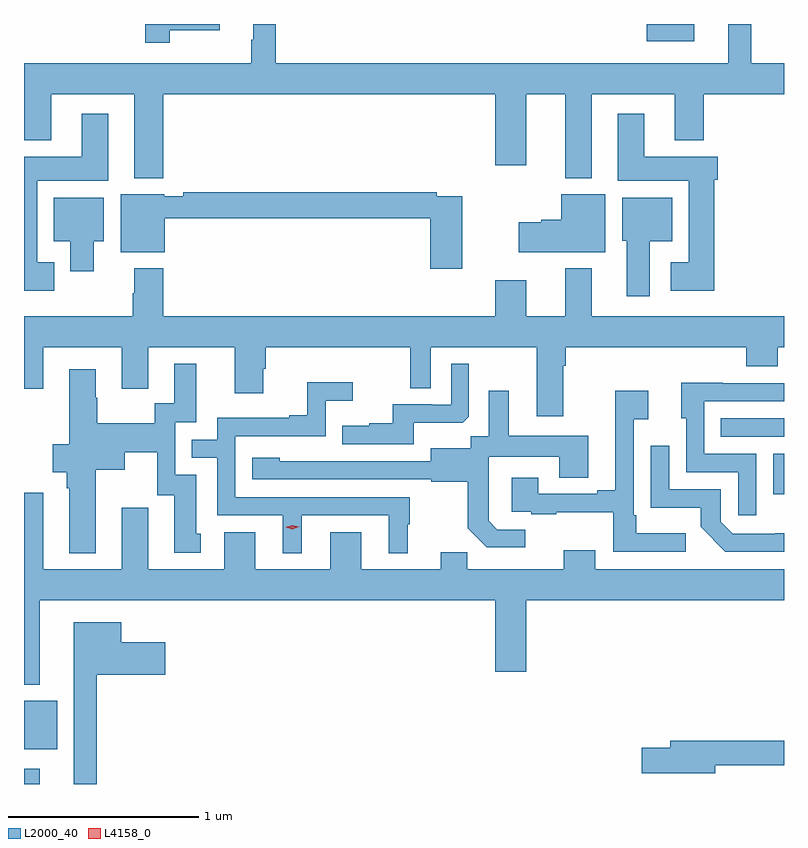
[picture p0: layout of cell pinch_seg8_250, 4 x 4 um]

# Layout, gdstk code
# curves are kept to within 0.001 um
import gdstk
lib = gdstk.Library(unit=1e-6, precision=1e-09)
def R(c, l, rs):  # rectangles x0, y0, x1, y1
    for r in rs: c.add(gdstk.rectangle(r[:2], r[2:], *l))
def P(c, l, *ps):  # polygons
    for p in ps: c.add(gdstk.Polygon(p, *l))
L2000_40 = (2000, 40)
L4158_0 = (4158, 0)

pinch_seg8_250 = lib.new_cell('pinch_seg8_250')
R(pinch_seg8_250, L2000_40, [(821.869,1083.566,821.953,1083.646), (821.869,1083.749,822.043,1084.003), (825.812,1085.09,825.869,1085.305), (825.535,1085.394,825.869,1085.49), (825.146,1087.475,825.397,1087.566)])
P(pinch_seg8_250, L2000_40, [(822.602,1087.196),(824.348,1087.196),(824.348,1086.822),(824.512,1086.822),(824.512,1087.196),(824.717,1087.196),(824.717,1086.755),(824.857,1086.755),(824.857,1087.196),(825.293,1087.196),(825.293,1086.953),(825.446,1086.953),(825.446,1087.196),(825.869,1087.196),(825.869,1087.36),(825.697,1087.36),(825.697,1087.566),(825.575,1087.566),(825.575,1087.36),(823.193,1087.36),(823.193,1087.566),(823.076,1087.566),(823.076,1087.484),(823.065,1087.484),(823.065,1087.36),(821.869,1087.36),(821.869,1086.953),(822.013,1086.953),(822.013,1087.196),(822.449,1087.196),(822.449,1086.755),(822.602,1086.755)],
  [(822.637,1087.532),(822.898,1087.532),(822.898,1087.566),(822.508,1087.566),(822.508,1087.467),(822.637,1087.467)],
  [(825.503,1086.747),(825.521,1086.747),(825.521,1086.868),(825.133,1086.868),(825.133,1087.093),(824.993,1087.093),(824.993,1086.74),(825.368,1086.74),(825.368,1086.313),(825.273,1086.313),(825.273,1086.161),(825.503,1086.161)],
  [(822.028,1086.313),(821.938,1086.313),(821.938,1086.74),(822.313,1086.74),(822.313,1087.093),(822.173,1087.093),(822.173,1086.868),(821.869,1086.868),(821.869,1086.161),(822.028,1086.161)],
  [(824.176,1086.66),(824.042,1086.66),(824.042,1086.68),(822.706,1086.68),(822.706,1086.66),(822.606,1086.66),(822.606,1086.67),(822.377,1086.67),(822.377,1086.365),(822.61,1086.365),(822.61,1086.544),(824.006,1086.544),(824.006,1086.279),(824.176,1086.279)],
  [(824.929,1086.67),(824.696,1086.67),(824.696,1086.536),(824.592,1086.536),(824.592,1086.523),(824.472,1086.523),(824.472,1086.365),(824.929,1086.365)],
  [(825.163,1086.422),(825.28,1086.422),(825.28,1086.652),(825.017,1086.652),(825.017,1086.426),(825.041,1086.426),(825.041,1086.132),(825.163,1086.132)],
  [(822.235,1086.422),(822.289,1086.422),(822.289,1086.652),(822.026,1086.652),(822.026,1086.422),(822.113,1086.422),(822.113,1086.264),(822.235,1086.264)],
  [(822.449,1086.149),(822.442,1086.149),(822.442,1086.028),(821.869,1086.028),(821.869,1085.646),(821.971,1085.646),(821.971,1085.864),(822.383,1085.864),(822.383,1085.646),(822.523,1085.646),(822.523,1085.864),(822.977,1085.864),(822.977,1085.622),(823.129,1085.622),(823.129,1085.751),(823.142,1085.751),(823.142,1085.864),(823.902,1085.864),(823.902,1085.65),(824.01,1085.65),(824.01,1085.864),(824.567,1085.864),(824.567,1085.502),(824.707,1085.502),(824.707,1085.768),(824.72,1085.768),(824.72,1085.864),(825.671,1085.864),(825.671,1085.765),(825.835,1085.765),(825.835,1085.864),(825.869,1085.864),(825.869,1086.028),(824.857,1086.028),(824.857,1086.28),(824.717,1086.28),(824.717,1086.028),(824.512,1086.028),(824.512,1086.217),(824.348,1086.217),(824.348,1086.028),(822.602,1086.028),(822.602,1086.28),(822.449,1086.28)],
  [(822.247,1085.219),(822.4,1085.219),(822.4,1085.312),(822.57,1085.312),(822.57,1085.085),(822.659,1085.085),(822.659,1084.782),(822.799,1084.782),(822.799,1084.884),(822.775,1084.884),(822.775,1085.193),(822.666,1085.193),(822.666,1085.469),(822.775,1085.469),(822.775,1085.779),(822.659,1085.779),(822.659,1085.57),(822.558,1085.57),(822.558,1085.464),(822.255,1085.464),(822.255,1085.598),(822.247,1085.598),(822.247,1085.749),(822.107,1085.749),(822.107,1085.354),(822.02,1085.354),(822.02,1085.207),(822.095,1085.207),(822.095,1085.123),(822.107,1085.123),(822.107,1084.781),(822.247,1084.781)],
  [(823.921,1085.468),(824.179,1085.468),(824.211,1085.499),(824.211,1085.779),(824.118,1085.779),(824.118,1085.562),(824.018,1085.562),(824.018,1085.565),(823.811,1085.565),(823.811,1085.464),(823.687,1085.464),(823.687,1085.452),(823.543,1085.452),(823.543,1085.355),(823.921,1085.355)],
  [(823.33,1084.98),(823.79,1084.98),(823.79,1084.781),(823.888,1084.781),(823.888,1084.932),(823.9,1084.932),(823.9,1085.076),(822.981,1085.076),(822.981,1085.397),(823.458,1085.397),(823.458,1085.582),(823.6,1085.582),(823.6,1085.681),(823.36,1085.681),(823.36,1085.506),(823.265,1085.506),(823.265,1085.493),(822.885,1085.493),(822.885,1085.379),(822.751,1085.379),(822.751,1085.283),(822.885,1085.283),(822.885,1084.98),(823.232,1084.98),(823.232,1084.781),(823.33,1084.781)],
  [(825.723,1085.304),(825.45,1085.304),(825.45,1085.58),(825.869,1085.58),(825.869,1085.676),(825.547,1085.676),(825.547,1085.678),(825.329,1085.678),(825.329,1085.49),(825.354,1085.49),(825.354,1085.208),(825.627,1085.208),(825.627,1084.98),(825.723,1084.98)],
  [(824.506,1084.905),(824.361,1084.905),(824.314,1084.952),(824.314,1085.047),(824.316,1085.047),(824.316,1085.288),(824.687,1085.288),(824.687,1085.179),(824.839,1085.179),(824.839,1085.398),(824.419,1085.398),(824.419,1085.635),(824.315,1085.635),(824.315,1085.396),(824.22,1085.396),(824.22,1085.332),(824.009,1085.332),(824.009,1085.265),(823.215,1085.266),(823.215,1085.284),(823.071,1085.284),(823.071,1085.169),(824.013,1085.169),(824.013,1085.157),(824.205,1085.157),(824.205,1084.911),(824.305,1084.811),(824.506,1084.811)],
  [(825.352,1084.885),(825.091,1084.885),(825.091,1084.981),(825.078,1084.981),(825.078,1085.486),(825.154,1085.486),(825.154,1085.635),(824.981,1085.635),(824.981,1085.113),(824.885,1085.113),(824.885,1085.094),(824.575,1085.094),(824.575,1085.179),(824.435,1085.179),(824.435,1084.998),(824.539,1084.998),(824.539,1084.986),(824.671,1084.986),(824.671,1084.997),(824.97,1084.997),(824.97,1084.788),(825.352,1084.788)],
  [(825.869,1084.886),(825.824,1084.886),(825.824,1084.884),(825.6,1084.884),(825.537,1084.947),(825.537,1085.118),(825.264,1085.118),(825.264,1085.347),(825.168,1085.347),(825.168,1085.021),(825.43,1085.021),(825.43,1084.919),(825.56,1084.788),(825.869,1084.788)],
  [(821.953,1084.532),(824.348,1084.532),(824.348,1084.158),(824.512,1084.158),(824.512,1084.532),(825.869,1084.532),(825.869,1084.696),(824.875,1084.696),(824.875,1084.795),(824.711,1084.795),(824.711,1084.696),(824.201,1084.696),(824.201,1084.787),(824.063,1084.787),(824.063,1084.696),(823.645,1084.696),(823.645,1084.891),(823.481,1084.891),(823.481,1084.696),(823.087,1084.696),(823.087,1084.891),(822.923,1084.891),(822.923,1084.696),(822.523,1084.696),(822.523,1085.02),(822.383,1085.02),(822.383,1084.696),(821.971,1084.696),(821.971,1085.098),(821.869,1085.098),(821.869,1084.088),(821.953,1084.088)],
  [(822.253,1084.142),(822.613,1084.142),(822.613,1084.312),(822.382,1084.312),(822.382,1084.417),(822.131,1084.417),(822.131,1083.566),(822.253,1083.566)],
  [(825.508,1083.666),(825.869,1083.666),(825.869,1083.794),(825.269,1083.794),(825.269,1083.758),(825.12,1083.758),(825.12,1083.623),(825.508,1083.623)])
P(pinch_seg8_250, L4158_0, [(823.281,1084.908),(823.246,1084.917),(823.245,1084.918),(823.246,1084.918),(823.281,1084.928),(823.316,1084.919),(823.317,1084.919),(823.316,1084.919)])

lib.write_gds('pinch_seg8_250.gds')
